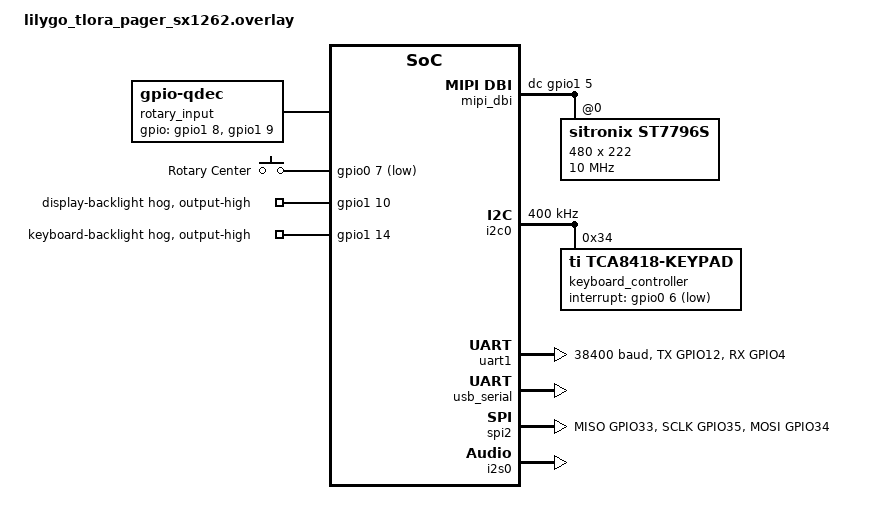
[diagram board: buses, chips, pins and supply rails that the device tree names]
/*
 * T-LoRa-Pager board adaptation overlay layered on top of the upstream
 * esp32s3_devkitc SoC target. This keeps Aegis on a Zephyr-backed path while
 * moving the concrete device wiring into the explicit board adaptation layer.
 */

#include <zephyr/dt-bindings/input/input-event-codes.h>
#include <zephyr/dt-bindings/input/keymap.h>
#include <zephyr/dt-bindings/mipi_dbi/mipi_dbi.h>
#include <zephyr/dt-bindings/spi/spi.h>

/ {
	chosen {
		zephyr,display = &st7796s;
		zephyr,console = &usb_serial;
		zephyr,shell-uart = &usb_serial;
	};

	aliases {
		display0 = &st7796s;
		inputkbd0 = &keyboard_controller;
		inputkbdmap0 = &keyboard_keymap;
		rotary0 = &rotary_input;
		lora0 = &spi2;
		gps0 = &uart1;
		audioout0 = &i2s0;
		audioin0 = &i2s0;
		rtc0 = &i2c0;
		battery0 = &i2c0;
		nfc0 = &spi2;
		hostlink0 = &uart0;
	};

	mipi_dbi {
		compatible = "zephyr,mipi-dbi-spi";
		status = "okay";
		spi-dev = <&spi2>;
		dc-gpios = <&gpio1 5 GPIO_ACTIVE_HIGH>;
		write-only;
		#address-cells = <1>;
		#size-cells = <0>;

		st7796s: st7796s@0 {
			compatible = "sitronix,st7796s";
			reg = <0>;
			status = "okay";
			mipi-max-frequency = <10000000>;
			mipi-mode = "MIPI_DBI_MODE_SPI_4WIRE";
			width = <480>;
			height = <222>;
			invert-mode = "1-dot";
			pgc = [F0 09 10 08 08 26 2A 44 42 06 18 16 20 22];
			ngc = [F0 09 10 08 08 26 2A 43 42 05 18 16 20 22];
			madctl = <0x28>;
			color-invert;
		};
	};

	rotary_input: qdec {
		compatible = "gpio-qdec";
		gpios = <&gpio1 8 (GPIO_PULL_UP | GPIO_ACTIVE_HIGH)>,
			<&gpio1 9 (GPIO_PULL_UP | GPIO_ACTIVE_HIGH)>;
		steps-per-period = <4>;
		zephyr,axis = <INPUT_REL_WHEEL>;
		sample-time-us = <2000>;
		idle-timeout-ms = <200>;
	};

	tlora_keys {
		compatible = "gpio-keys";

		rotary_encoder: rotary_center {
			gpios = <&gpio0 7 (GPIO_PULL_UP | GPIO_ACTIVE_LOW)>;
			label = "Rotary Center";
			zephyr,code = <INPUT_KEY_ENTER>;
		};
	};
};

&pinctrl {
	tlora_i2c0_default: tlora_i2c0_default {
		group1 {
			pinmux = <I2C0_SDA_GPIO3>,
				 <I2C0_SCL_GPIO2>;
			bias-pull-up;
			drive-open-drain;
			output-high;
		};
	};

	tlora_uart1_default: tlora_uart1_default {
		group1 {
			pinmux = <UART1_TX_GPIO12>;
			output-high;
		};

		group2 {
			pinmux = <UART1_RX_GPIO4>;
			bias-pull-up;
		};
	};

	tlora_spim2_default: tlora_spim2_default {
		group1 {
			pinmux = <SPIM2_MISO_GPIO33>,
				 <SPIM2_SCLK_GPIO35>;
		};

		group2 {
			pinmux = <SPIM2_MOSI_GPIO34>;
			output-low;
		};
	};

	tlora_i2s0_default: tlora_i2s0_default {
		group1 {
			pinmux = <I2S0_MCLK_GPIO10>,
				 <I2S0_O_BCK_GPIO11>,
				 <I2S0_O_WS_GPIO18>,
				 <I2S0_O_SD_GPIO45>,
				 <I2S0_I_SD_GPIO17>;
		};
	};
};

&i2c0 {
	status = "okay";
	clock-frequency = <I2C_BITRATE_FAST>;
	pinctrl-0 = <&tlora_i2c0_default>;
	pinctrl-names = "default";

	keyboard_controller: keyboard@34 {
		compatible = "ti,tca8418-keypad";
		reg = <0x34>;
		interrupt-gpios = <&gpio0 6 GPIO_ACTIVE_LOW>;
		keypad-rows = <4>;
		keypad-columns = <10>;
		polling-interval-ms = <20>;

		keyboard_keymap: keymap {
			compatible = "input-keymap";
			row-size = <4>;
			col-size = <10>;
			keymap = <
				MATRIX_KEY(0, 0, INPUT_KEY_Q)
				MATRIX_KEY(0, 1, INPUT_KEY_W)
				MATRIX_KEY(0, 2, INPUT_KEY_E)
				MATRIX_KEY(0, 3, INPUT_KEY_R)
				MATRIX_KEY(0, 4, INPUT_KEY_T)
				MATRIX_KEY(0, 5, INPUT_KEY_Y)
				MATRIX_KEY(0, 6, INPUT_KEY_U)
				MATRIX_KEY(0, 7, INPUT_KEY_I)
				MATRIX_KEY(0, 8, INPUT_KEY_O)
				MATRIX_KEY(0, 9, INPUT_KEY_P)
				MATRIX_KEY(1, 0, INPUT_KEY_A)
				MATRIX_KEY(1, 1, INPUT_KEY_S)
				MATRIX_KEY(1, 2, INPUT_KEY_D)
				MATRIX_KEY(1, 3, INPUT_KEY_F)
				MATRIX_KEY(1, 4, INPUT_KEY_G)
				MATRIX_KEY(1, 5, INPUT_KEY_H)
				MATRIX_KEY(1, 6, INPUT_KEY_J)
				MATRIX_KEY(1, 7, INPUT_KEY_K)
				MATRIX_KEY(1, 8, INPUT_KEY_L)
				MATRIX_KEY(1, 9, INPUT_KEY_ENTER)
				MATRIX_KEY(2, 0, INPUT_KEY_LEFTALT)
				MATRIX_KEY(2, 1, INPUT_KEY_Z)
				MATRIX_KEY(2, 2, INPUT_KEY_X)
				MATRIX_KEY(2, 3, INPUT_KEY_C)
				MATRIX_KEY(2, 4, INPUT_KEY_V)
				MATRIX_KEY(2, 5, INPUT_KEY_B)
				MATRIX_KEY(2, 6, INPUT_KEY_N)
				MATRIX_KEY(2, 7, INPUT_KEY_M)
				MATRIX_KEY(2, 8, INPUT_KEY_CAPSLOCK)
				MATRIX_KEY(2, 9, INPUT_KEY_BACKSPACE)
				MATRIX_KEY(3, 0, INPUT_KEY_SPACE)
			>;
		};
	};
};

&uart1 {
	status = "okay";
	current-speed = <38400>;
	pinctrl-0 = <&tlora_uart1_default>;
	pinctrl-names = "default";
};

&usb_serial {
	status = "okay";
};

&spi2 {
	#address-cells = <1>;
	#size-cells = <0>;
	status = "okay";
	pinctrl-0 = <&tlora_spim2_default>;
	pinctrl-names = "default";
	cs-gpios = <&gpio1 6 GPIO_ACTIVE_LOW>;
};

&i2s0 {
	status = "okay";
	pinctrl-0 = <&tlora_i2s0_default>;
	pinctrl-names = "default";
};

&gpio0 {
};

&gpio1 {
	display-backlight {
		gpio-hog;
		gpios = <10 GPIO_ACTIVE_HIGH>;
		output-high;
	};

	keyboard-backlight {
		gpio-hog;
		gpios = <14 GPIO_ACTIVE_HIGH>;
		output-high;
	};
};

&storage_partition {
	reg = <0x3B0000 0x200000>;
};

&flash0 {
	partitions {
		/delete-node/ partition@3e0000;
		/delete-node/ partition@3ff000;

		scratch_partition: partition@5b0000 {
			label = "image-scratch";
			reg = <0x5B0000 0x1F000>;
		};

		coredump_partition: partition@5cf000 {
			label = "coredump";
			reg = <0x5CF000 0x1000>;
		};
	};
};
